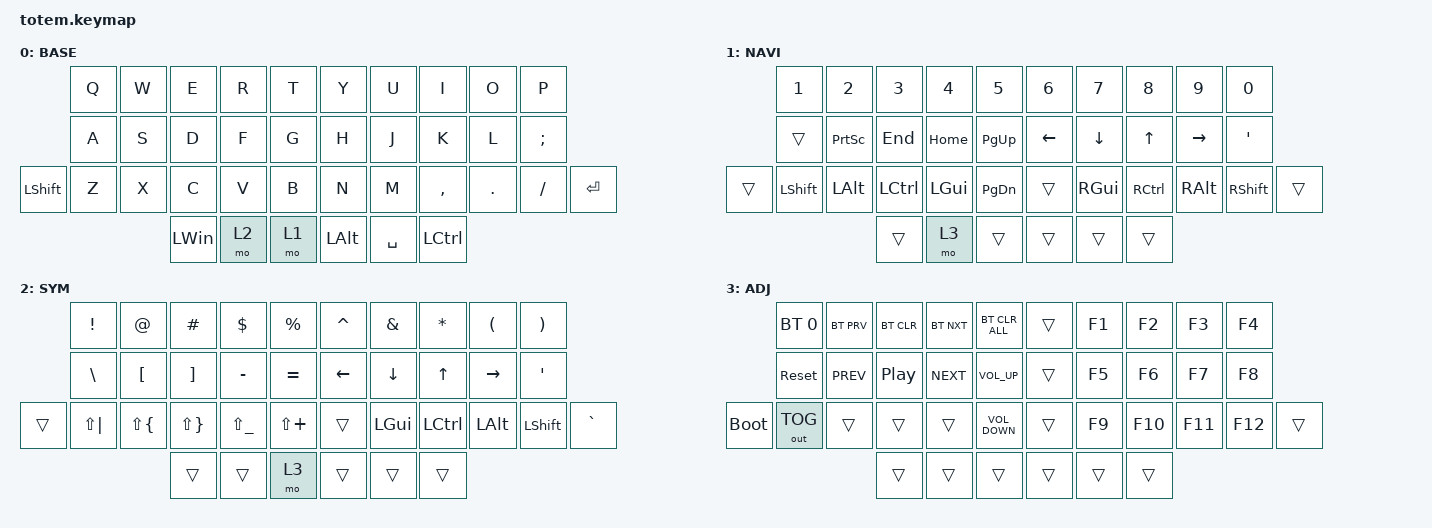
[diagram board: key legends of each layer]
//
//                                                        ▀▀▀▀▀     ▀▀▀▀▀          ▀▀█▀▀
//                                                        ▄▀▀▀▄  ▄  ▄▀▀▀▄  ▄  ▄▀▀▀▄  █  ▄▀▀▀▄
//                                                        █   █  █  █   █  █  █   █  █  █   █
//                                                         ▀▀▀   █   ▀▀▀   █   ▀▀▀   ▀   ▀▀▀
//                                                               █      ▄▄▄█▄▄▄    █   █  
//                                                               ▀      █  █  █     █▄█
//                                                             ▀▀▀▀▀    █  █  █      ▀
//                                                                      ▀  ▀  ▀
//
// ▄▄▄▄▄▄▄▄▄▄▄▄▄▄▄▄▄▄▄▄▄▄▄▄▄▄▄▄▄▄▄▄▄▄▄▄▄▄▄▄▄▄▄▄▄▄▄▄▄▄▄▄▄▄▄▄▄▄▄▄▄▄▄▄▄▄▄▄▄▄▄▄▄▄▄▄▄▄▄▄▄▄▄▄▄▄▄▄▄▄▄▄▄▄▄▄▄▄▄▄▄▄▄▄▄▄▄▄▄▄▄▄▄▄▄▄▄▄▄▄▄▄▄▄▄▄▄▄▄▄▄▄▄▄▄▄▄▄▄▄▄▄▄▄▄▄▄▄▄

#include <behaviors.dtsi>
#include <dt-bindings/zmk/bt.h>
#include <dt-bindings/zmk/keys.h>
#include <dt-bindings/zmk/outputs.h>

#define BASE 0
#define NAV  1
#define SYM  2
#define ADJ  3
#define TVP1 4
#define TVP2 5

/ {
    combos {
        compatible = "zmk,combos";

        tab {
            timeout-ms = <30>;
            key-positions = <1 2>;
            bindings = <&kp TAB>;
        };

        backspace {
            bindings = <&kp BACKSPACE>;
            key-positions = <27 28>;
        };

        del {
            bindings = <&kp DEL>;
            key-positions = <28 29>;
        };

        esc {
            bindings = <&kp ESCAPE>;
            key-positions = <1 0>;
            timeout-ms = <30>;
        };

        enter {
            bindings = <&kp ENTER>;
            key-positions = <16 17 18>;
            timeout-ms = <30>;
            layers = <0>;
        };
    };

    keymap {
        compatible = "zmk,keymap";

        // ▄▄▄▄▄▄▄▄▄▄▄▄▄▄▄▄▄▄▄▄▄▄▄▄▄▄▄▄▄▄▄▄▄▄▄▄▄▄▄▄▄▄▄▄▄▄▄▄▄▄▄▄▄▄▄▄▄▄▄▄▄▄▄▄▄▄▄▄▄▄▄▄▄▄▄▄▄▄▄▄▄▄▄▄▄▄▄▄▄▄▄▄▄▄▄▄▄▄▄▄▄▄▄▄▄▄▄▄▄▄▄▄▄▄▄▄▄▄▄▄▄▄▄▄▄▄▄▄▄▄▄▄▄▄▄▄▄▄▄▄▄▄▄▄▄▄▄▄▄

        base_layer {
            // ┏━━━━━━━━━━━━━━━━━━━━━━━━━━━━━━━━━━━━━━━┓

            label = "BASE";

            // ┗━━━━━━━━━━━━━━━━━━━━━━━━━━━━━━━━━━━━━━━┛
            //             ┏━━━━━━━━━━━┳━━━━━━━━━━━┳━━━━━━━━━━━┳━━━━━━━━━━━┳━━━━━━━━━━━┓   ┏━━━━━━━━━━━┳━━━━━━━━━━━┳━━━━━━━━━━━┳━━━━━━━━━━━┳━━━━━━━━━━━┓
            //             ┃     Q     ┃     W     ┃     F     ┃     P     ┃     G     ┃   ┃     J     ┃     L     ┃     U     ┃     Y     ┃     ;     ┃
            //             ┣━━━━━━━━━━━╋━━━━━━━━━━━╋━━━━━━━━━━━╋━━━━━━━━━━━╋━━━━━━━━━━━┫   ┣━━━━━━━━━━━╋━━━━━━━━━━━╋━━━━━━━━━━━╋━━━━━━━━━━━╋━━━━━━━━━━━┫
            //             ┃     A     ┃     R     ┃     S     ┃     T     ┃     D     ┃   ┃     H     ┃     N     ┃     E     ┃     I     ┃     O     ┃
            // ┏━━━━━━━━━━━╋━━━━━━━━━━━╋━━━━━━━━━━━╋━━━━━━━━━━━╋━━━━━━━━━━━╋━━━━━━━━━━━┫   ┣━━━━━━━━━━━╋━━━━━━━━━━━╋━━━━━━━━━━━╋━━━━━━━━━━━╋━━━━━━━━━━━╋━━━━━━━━━━━┓
            // ┃     Q     ┃     Z     ┃     X     ┃     C     ┃     V     ┃     B     ┃   ┃     K     ┃     M     ┃     ,     ┃     .     ┃     /     ┃     \     ┃
            // ┗━━━━━━━━━━━┻━━━━━━━━━━━┻━━━━━━━━━━━╋━━━━━━━━━━━╋━━━━━━━━━━━╋━━━━━━━━━━━┫   ┣━━━━━━━━━━━╋━━━━━━━━━━━╋━━━━━━━━━━━╋━━━━━━━━━━━┻━━━━━━━━━━━┻━━━━━━━━━━━┛
            //                                     ┃    DEL    ┃    TAB    ┃    SPC    ┃   ┃   ENTER   ┃           ┃   BSPC    ┃
            //                                     ┗━━━━━━━━━━━┻━━━━━━━━━━━┻━━━━━━━━━━━┛   ┗━━━━━━━━━━━┻━━━━━━━━━━━┻━━━━━━━━━━━┛

            bindings = <
                &kp Q  &kp W  &kp E         &kp R  &kp T    &kp Y         &kp U      &kp I      &kp O    &kp P
                &kp A  &kp S  &kp D         &kp F  &kp G    &kp H         &kp J      &kp K      &kp L    &kp SEMICOLON
&kp LEFT_SHIFT  &kp Z  &kp X  &kp C         &kp V  &kp B    &kp N         &kp M      &kp COMMA  &kp DOT  &kp FSLH       &kp ENTER
                              &kp LEFT_WIN  &mo 2  &mo 1    &kp LEFT_ALT  &kp SPACE  &kp LCTRL
            >;
        };

        // ▄▄▄▄▄▄▄▄▄▄▄▄▄▄▄▄▄▄▄▄▄▄▄▄▄▄▄▄▄▄▄▄▄▄▄▄▄▄▄▄▄▄▄▄▄▄▄▄▄▄▄▄▄▄▄▄▄▄▄▄▄▄▄▄▄▄▄▄▄▄▄▄▄▄▄▄▄▄▄▄▄▄▄▄▄▄▄▄▄▄▄▄▄▄▄▄▄▄▄▄▄▄▄▄▄▄▄▄▄▄▄▄▄▄▄▄▄▄▄▄▄▄▄▄▄▄▄▄▄▄▄▄▄▄▄▄▄▄▄▄▄▄▄▄▄▄▄▄▄

        num_layer {
            // ┏━━━━━━━━━━━━━━━━━━━━━━━━━━━━━━━━━━━━━━━┓

            label = "NAVI";

            // ┗━━━━━━━━━━━━━━━━━━━━━━━━━━━━━━━━━━━━━━━┛
            //             ┏━━━━━━━━━━━┳━━━━━━━━━━━┳━━━━━━━━━━━┳━━━━━━━━━━━┳━━━━━━━━━━━┓   ┏━━━━━━━━━━━┳━━━━━━━━━━━┳━━━━━━━━━━━┳━━━━━━━━━━━┳━━━━━━━━━━━┓
            //             ┃           ┃           ┃     UP    ┃           ┃     {     ┃   ┃     }     ┃     7     ┃     8     ┃     9     ┃     +     ┃
            //             ┣━━━━━━━━━━━╋━━━━━━━━━━━╋━━━━━━━━━━━╋━━━━━━━━━━━╋━━━━━━━━━━━┫   ┣━━━━━━━━━━━╋━━━━━━━━━━━╋━━━━━━━━━━━╋━━━━━━━━━━━╋━━━━━━━━━━━┫
            //             ┃   SHIFT   ┃   LEFT    ┃    DOWN   ┃   RIGHT   ┃     [     ┃   ┃     ]     ┃     4     ┃     5     ┃     6     ┃     -     ┃
            // ┏━━━━━━━━━━━╋━━━━━━━━━━━╋━━━━━━━━━━━╋━━━━━━━━━━━╋━━━━━━━━━━━╋━━━━━━━━━━━┫   ┣━━━━━━━━━━━╋━━━━━━━━━━━╋━━━━━━━━━━━╋━━━━━━━━━━━╋━━━━━━━━━━━╋━━━━━━━━━━━┓
            // ┃           ┃           ┃   P UP    ┃  C LOCK   ┃  P DOWN   ┃     (     ┃   ┃     )     ┃     1     ┃     2     ┃     3     ┃     *     ┃           ┃
            // ┗━━━━━━━━━━━┻━━━━━━━━━━━┻━━━━━━━━━━━╋━━━━━━━━━━━╋━━━━━━━━━━━╋━━━━━━━━━━━┫   ┣━━━━━━━━━━━╋━━━━━━━━━━━╋━━━━━━━━━━━╋━━━━━━━━━━━┻━━━━━━━━━━━┻━━━━━━━━━━━┛
            //                                     ┃           ┃    TAB    ┃    SPC    ┃   ┃    DEL    ┃     0     ┃           ┃
            //                                     ┗━━━━━━━━━━━┻━━━━━━━━━━━┻━━━━━━━━━━━┛   ┗━━━━━━━━━━━┻━━━━━━━━━━━┻━━━━━━━━━━━┛

            bindings = <
        &kp N1          &kp N2           &kp N3     &kp N4    &kp N5       &kp N6    &kp N7    &kp N8     &kp N9         &kp N0
        &trans          &kp PRINTSCREEN  &kp END    &kp HOME  &kp PG_UP    &kp LEFT  &kp DOWN  &kp UP     &kp RIGHT      &kp SQT
&trans  &kp LEFT_SHIFT  &kp LEFT_ALT     &kp LCTRL  &kp LGUI  &kp PG_DN    &trans    &kp RGUI  &kp RCTRL  &kp RIGHT_ALT  &kp RIGHT_SHIFT  &trans
                                         &trans     &mo 3     &trans       &trans    &trans    &trans
            >;
        };

        // ▄▄▄▄▄▄▄▄▄▄▄▄▄▄▄▄▄▄▄▄▄▄▄▄▄▄▄▄▄▄▄▄▄▄▄▄▄▄▄▄▄▄▄▄▄▄▄▄▄▄▄▄▄▄▄▄▄▄▄▄▄▄▄▄▄▄▄▄▄▄▄▄▄▄▄▄▄▄▄▄▄▄▄▄▄▄▄▄▄▄▄▄▄▄▄▄▄▄▄▄▄▄▄▄▄▄▄▄▄▄▄▄▄▄▄▄▄▄▄▄▄▄▄▄▄▄▄▄▄▄▄▄▄▄▄▄▄▄▄▄▄▄▄▄▄▄▄▄▄

        sym_layer {
            // ┏━━━━━━━━━━━━━━━━━━━━━━━━━━━━━━━━━━━━━━━┓

            label = "SYM";

            // ┗━━━━━━━━━━━━━━━━━━━━━━━━━━━━━━━━━━━━━━━┛
            //             ┏━━━━━━━━━━━┳━━━━━━━━━━━┳━━━━━━━━━━━┳━━━━━━━━━━━┳━━━━━━━━━━━┓   ┏━━━━━━━━━━━┳━━━━━━━━━━━┳━━━━━━━━━━━┳━━━━━━━━━━━┳━━━━━━━━━━━┓
            //             ┃     !     ┃     @     ┃     #     ┃     $     ┃     %     ┃   ┃     ˆ     ┃     &     ┃     Ü     ┃     '     ┃     "     ┃
            //             ┣━━━━━━━━━━━╋━━━━━━━━━━━╋━━━━━━━━━━━╋━━━━━━━━━━━╋━━━━━━━━━━━┫   ┣━━━━━━━━━━━╋━━━━━━━━━━━╋━━━━━━━━━━━╋━━━━━━━━━━━╋━━━━━━━━━━━┫
            //             ┃     Ä     ┃           ┃    SZ     ┃           ┃           ┃   ┃   MUTE    ┃   YEN     ┃   EURO    ┃  POUND    ┃     Ö     ┃
            // ┏━━━━━━━━━━━╋━━━━━━━━━━━╋━━━━━━━━━━━╋━━━━━━━━━━━╋━━━━━━━━━━━╋━━━━━━━━━━━┫   ┣━━━━━━━━━━━╋━━━━━━━━━━━╋━━━━━━━━━━━╋━━━━━━━━━━━╋━━━━━━━━━━━╋━━━━━━━━━━━┓
            // ┃           ┃  EMAIL1   ┃  EMAIL2   ┃           ┃           ┃           ┃   ┃   VOL-    ┃   VOL+    ┃   LAST    ┃   NEXT    ┃     \     ┃           ┃
            // ┗━━━━━━━━━━━┻━━━━━━━━━━━┻━━━━━━━━━━━╋━━━━━━━━━━━╋━━━━━━━━━━━╋━━━━━━━━━━━┫   ┣━━━━━━━━━━━╋━━━━━━━━━━━╋━━━━━━━━━━━╋━━━━━━━━━━━┻━━━━━━━━━━━┻━━━━━━━━━━━┛
            //                                     ┃           ┃    GIF    ┃    ADJ    ┃   ┃           ┃           ┃           ┃
            //                                     ┗━━━━━━━━━━━┻━━━━━━━━━━━┻━━━━━━━━━━━┛   ┗━━━━━━━━━━━┻━━━━━━━━━━━┻━━━━━━━━━━━┛

            bindings = <
        &kp EXCL      &kp AT        &kp HASH      &kp DLLR       &kp PRCNT       &kp CARET  &kp AMPS  &kp ASTERISK  &kp LEFT_PARENTHESIS  &kp RIGHT_PARENTHESIS
        &kp BSLH      &kp LBKT      &kp RBKT      &kp MINUS      &kp EQUAL       &kp LEFT   &kp DOWN  &kp UP        &kp RIGHT             &kp SQT
&trans  &kp LS(PIPE)  &kp LS(LBRC)  &kp LS(RBRC)  &kp LS(UNDER)  &kp LS(PLUS)    &trans     &kp LGUI  &kp LCTRL     &kp LEFT_ALT          &kp LEFT_SHIFT         &kp GRAVE
                                    &trans        &trans         &mo 3           &trans     &trans    &trans
            >;
        };

        // ▄▄▄▄▄▄▄▄▄▄▄▄▄▄▄▄▄▄▄▄▄▄▄▄▄▄▄▄▄▄▄▄▄▄▄▄▄▄▄▄▄▄▄▄▄▄▄▄▄▄▄▄▄▄▄▄▄▄▄▄▄▄▄▄▄▄▄▄▄▄▄▄▄▄▄▄▄▄▄▄▄▄▄▄▄▄▄▄▄▄▄▄▄▄▄▄▄▄▄▄▄▄▄▄▄▄▄▄▄▄▄▄▄▄▄▄▄▄▄▄▄▄▄▄▄▄▄▄▄▄▄▄▄▄▄▄▄▄▄▄▄▄▄▄▄▄▄▄▄

        adjust_layer {
            // ┏━━━━━━━━━━━━━━━━━━━━━━━━━━━━━━━━━━━━━━━┓

            label = "ADJ";

            // ┗━━━━━━━━━━━━━━━━━━━━━━━━━━━━━━━━━━━━━━━┛
            //             ┏━━━━━━━━━━━┳━━━━━━━━━━━┳━━━━━━━━━━━┳━━━━━━━━━━━┳━━━━━━━━━━━┓   ┏━━━━━━━━━━━┳━━━━━━━━━━━┳━━━━━━━━━━━┳━━━━━━━━━━━┳━━━━━━━━━━━┓
            //             ┃   RESET   ┃ BT CLEAR  ┃  OUT TOG  ┃           ┃           ┃   ┃           ┃    F7     ┃    F8     ┃    F9     ┃    F12    ┃
            //             ┣━━━━━━━━━━━╋━━━━━━━━━━━╋━━━━━━━━━━━╋━━━━━━━━━━━╋━━━━━━━━━━━┫   ┣━━━━━━━━━━━╋━━━━━━━━━━━╋━━━━━━━━━━━╋━━━━━━━━━━━╋━━━━━━━━━━━┫
            //             ┃ BOOTLOAD  ┃ BT NEXT   ┃           ┃           ┃           ┃   ┃           ┃    F4     ┃    F5     ┃    F6     ┃    F11    ┃
            // ┏━━━━━━━━━━━╋━━━━━━━━━━━╋━━━━━━━━━━━╋━━━━━━━━━━━╋━━━━━━━━━━━╋━━━━━━━━━━━┫   ┣━━━━━━━━━━━╋━━━━━━━━━━━╋━━━━━━━━━━━╋━━━━━━━━━━━╋━━━━━━━━━━━╋━━━━━━━━━━━┓
            // ┃           ┃           ┃ BT PREV   ┃           ┃           ┃           ┃   ┃           ┃    F1     ┃    F2     ┃    F3     ┃    F10    ┃           ┃
            // ┗━━━━━━━━━━━┻━━━━━━━━━━━┻━━━━━━━━━━━╋━━━━━━━━━━━╋━━━━━━━━━━━╋━━━━━━━━━━━┫   ┣━━━━━━━━━━━╋━━━━━━━━━━━╋━━━━━━━━━━━╋━━━━━━━━━━━┻━━━━━━━━━━━┻━━━━━━━━━━━┛
            //                                     ┃           ┃           ┃           ┃   ┃           ┃           ┃           ┃
            //                                     ┗━━━━━━━━━━━┻━━━━━━━━━━━┻━━━━━━━━━━━┛   ┗━━━━━━━━━━━┻━━━━━━━━━━━┻━━━━━━━━━━━┛

            bindings = <
             &bt BT_SEL 0  &bt BT_PRV  &bt BT_CLR        &bt BT_NXT  &bt BT_CLR_ALL       &trans  &kp F1  &kp F2   &kp F3   &kp F4
             &sys_reset    &kp C_PREV  &kp C_PLAY_PAUSE  &kp C_NEXT  &kp C_VOL_UP         &trans  &kp F5  &kp F6   &kp F7   &kp F8
&bootloader  &out OUT_TOG  &trans      &trans            &trans      &kp C_VOLUME_DOWN    &trans  &kp F9  &kp F10  &kp F11  &kp F12  &trans
                                       &trans            &trans      &trans               &trans  &trans  &trans
            >;
        };

        // ▄▄▄▄▄▄▄▄▄▄▄▄▄▄▄▄▄▄▄▄▄▄▄▄▄▄▄▄▄▄▄▄▄▄▄▄▄▄▄▄▄▄▄▄▄▄▄▄▄▄▄▄▄▄▄▄▄▄▄▄▄▄▄▄▄▄▄▄▄▄▄▄▄▄▄▄▄▄▄▄▄▄▄▄▄▄▄▄▄▄▄▄▄▄▄▄▄▄▄▄▄▄▄▄▄▄▄▄▄▄▄▄▄▄▄▄▄▄▄▄▄▄▄▄▄▄▄▄▄▄▄▄▄▄▄▄▄▄▄▄▄▄▄▄▄▄▄▄▄
        // ▄▄▄▄▄▄▄▄▄▄▄▄▄▄▄▄▄▄▄▄▄▄▄▄▄▄▄▄▄▄▄▄▄▄▄▄▄▄▄▄▄▄▄▄▄▄▄▄▄▄▄▄▄▄▄▄▄▄▄▄▄▄▄▄▄▄▄▄▄▄▄▄▄▄▄▄▄▄▄▄▄▄▄▄▄▄▄▄▄▄▄▄▄▄▄▄▄▄▄▄▄▄▄▄▄▄▄▄▄▄▄▄▄▄▄▄▄▄▄▄▄▄▄▄▄▄▄▄▄▄▄▄▄▄▄▄▄▄▄▄▄▄▄▄▄▄▄▄▄
    };
};
